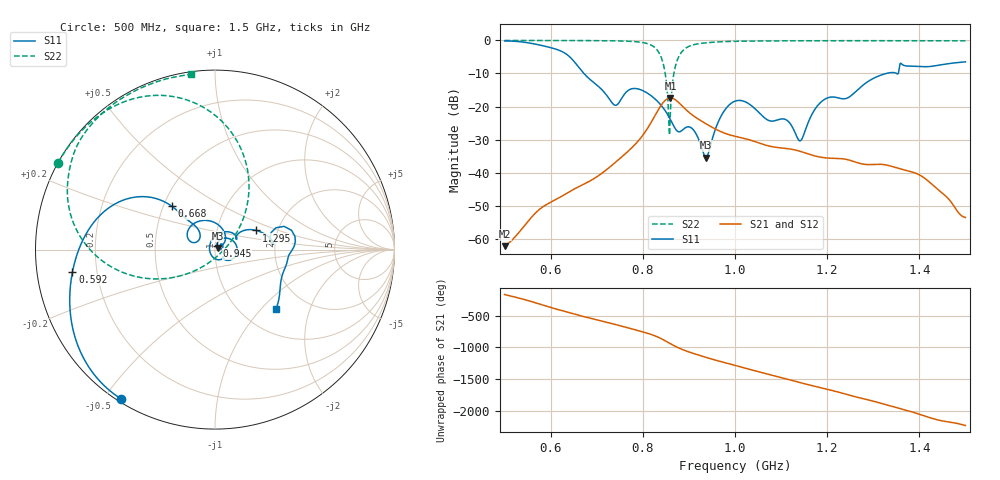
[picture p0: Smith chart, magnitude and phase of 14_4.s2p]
! TOUCHSTONE file generated by CST MICROWAVE STUDIO
! Date and time: Wed Oct 28 19:15:56 2020
! Project name: Scenario_1_Circular_Tissue_out_of_Line.cst
! Parameters = {dy1=-120.567; L_HA=400; MT=2.54; Rad_Dielectric=30; Rad_Lower=7.3; Rad_Upper=30; a_HA=580; a_WG=246; b_HA=500; b_WG=121; c_HA=0; c_WG=187; d_feed=85; dx1=693; h_feed=15; h_lower=18; h_upper=40}
! Header version: 2018
! Port assignment regex: !\s*Touchstone port\s*([0-9]+)\s*=\s*(CST MWS port|CST DS port)\s*([0-9]+|Zmin|Zmax)\s*\(\"(.*)\"\)(\s*mode\s*([0-9]+))?.*
! Touchstone port assignment:
! Touchstone port 1 = CST MWS port 1 ("")
! Touchstone port 2 = CST MWS port 2 ("")
# GHz S DB R 50
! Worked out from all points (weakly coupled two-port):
!   1001 points, 500 MHz to 1.5 GHz, reference 50 ohm
!   highest |S21| = -17.40 dB at 860 MHz (marker M1); lowest = -62.2 dB at 500 MHz (marker M2)
!   lowest |S11| = -35.4 dB at 937 MHz (marker M3), VSWR 1.03, Z = 51.4 + j0.992 ohm
!   |S11| at or under -10 dB: 672.2 MHz to 1.328 GHz (655.9 MHz wide, 65.6 % of centre); 1.350747 GHz to 1.354164 GHz (3.417 MHz wide, 0.253 % of centre)
!   |S22| runs from -28.6 to 0.0 dB; largest |S21 - S12| = 1.1e-05
!   S11 on the Smith chart (normalised r, x): 500 MHz: 0.01, -0.55; 592 MHz: 0.11, -0.08; 668 MHz: 0.55, +0.30; 945 MHz: 1.02, +0.04; 1.295 GHz: 1.55, +0.35; 1.5 GHz: 1.42, -1.21
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0.5  -0.15 -122.3  -62.22 -168.7  -62.22 -168.7  -0.01 151.1
0.592  -1.90 -171.1  -49.55 4.7  -49.55 4.7  -0.02 144.7
0.667  -9.17 135.1  -43.82 -146.4  -43.82 -146.4  -0.04 138.4
0.668  -9.34 134.9  -43.75 -148.3  -43.75 -148.3  -0.04 138.3
0.739  -19.58 145.1  -37.05 83.1  -37.05 83.1  -0.13 129.4
0.781  -14.53 135.6  -31.77 1.8  -31.77 1.8  -0.34 119.9
0.834  -18.73 65.9  -20.85 -122.0  -20.85 -122.0  -3.47 83.0
0.86  -23.98 36.1  -17.40 137.9  -17.40 137.9  -21.22 -117.4
0.868  -26.12 34.2  -17.72 106.3  -17.73 106.3  -9.48 -151.0
0.88  -27.63 42.9  -19.08 64.4  -19.08 64.4  -4.37 -172.1
0.907  -26.64 19.4  -22.51 -8.3  -22.51 -8.3  -1.43 163.8
0.937  -35.41 34.6  -25.21 -76.5  -25.21 -76.5  -0.72 152.1
0.945  -32.72 64.4  -25.85 -93.6  -25.85 -93.6  -0.62 150.0
0.97  -22.83 57.0  -27.63 -144.3  -27.63 -144.3  -0.40 144.9
1  -18.37 12.3  -28.98 158.1  -28.98 158.1  -0.26 140.2
1.112  -24.09 -65.2  -32.68 -55.2  -32.68 -55.2  -0.12 128.7
1.14  -30.35 -164.7  -33.48 -110.6  -33.48 -110.6  -0.10 126.3
1.167  -22.34 88.4  -34.68 -160.6  -34.68 -160.6  -0.09 124.2
1.295  -11.89 24.8  -37.54 -35.7  -37.54 -35.7  -0.08 114.4
1.334  -9.81 8.5  -37.86 -113.1  -37.86 -113.1  -0.09 111.4
1.408  -7.93 -16.9  -41.32 90.3  -41.32 90.3  -0.10 105.6
1.5  -6.47 -44.3  -53.54 -66.8  -53.54 -66.7  -0.13 97.9
